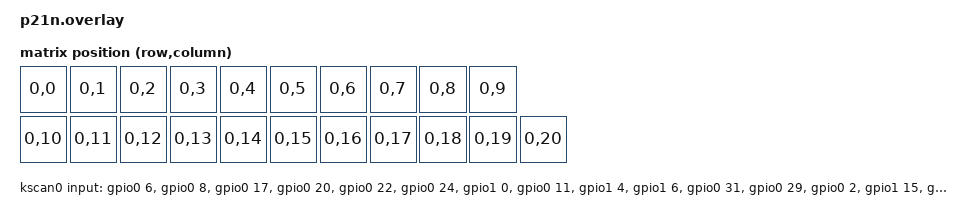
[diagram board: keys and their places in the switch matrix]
/*
 * 这是直连方式，模块引脚足够多，所以改为采用更省电的1行21列方案。
 *
 * Copyright (c) 2020 The ZMK Contributors
 * SPDX-License-Identifier: MIT
 */

#include <dt-bindings/zmk/matrix_transform.h>
#include "p21n-layouts.dtsi"

/ {
	chosen {
		zmk,kscan = &kscan0;
        zmk,physical-layout = &physical_layout0;
	};

    kscan0: kscan {
        compatible = "zmk,kscan-gpio-direct";
        label = "KSCAN";
        input-gpios
            = <&gpio0 6  (GPIO_ACTIVE_LOW | GPIO_PULL_UP)>
            , <&gpio0 8  (GPIO_ACTIVE_LOW | GPIO_PULL_UP)>

            , <&gpio0 17 (GPIO_ACTIVE_LOW | GPIO_PULL_UP)>
            , <&gpio0 20 (GPIO_ACTIVE_LOW | GPIO_PULL_UP)>
            , <&gpio0 22 (GPIO_ACTIVE_LOW | GPIO_PULL_UP)>
            , <&gpio0 24 (GPIO_ACTIVE_LOW | GPIO_PULL_UP)>
            , <&gpio1 0  (GPIO_ACTIVE_LOW | GPIO_PULL_UP)>
            , <&gpio0 11 (GPIO_ACTIVE_LOW | GPIO_PULL_UP)>
            , <&gpio1 4  (GPIO_ACTIVE_LOW | GPIO_PULL_UP)>
            , <&gpio1 6  (GPIO_ACTIVE_LOW | GPIO_PULL_UP)>

            , <&gpio0 31 (GPIO_ACTIVE_LOW | GPIO_PULL_UP)>
            , <&gpio0 29 (GPIO_ACTIVE_LOW | GPIO_PULL_UP)>
            , <&gpio0 2  (GPIO_ACTIVE_LOW | GPIO_PULL_UP)>
            , <&gpio1 15 (GPIO_ACTIVE_LOW | GPIO_PULL_UP)>
            , <&gpio1 13 (GPIO_ACTIVE_LOW | GPIO_PULL_UP)>
            , <&gpio1 11 (GPIO_ACTIVE_LOW | GPIO_PULL_UP)>
            , <&gpio0 10 (GPIO_ACTIVE_LOW | GPIO_PULL_UP)>
            , <&gpio0 9  (GPIO_ACTIVE_LOW | GPIO_PULL_UP)>

            , <&gpio1 7  (GPIO_ACTIVE_LOW | GPIO_PULL_UP)>
            , <&gpio1 2  (GPIO_ACTIVE_LOW | GPIO_PULL_UP)>
            , <&gpio1 1  (GPIO_ACTIVE_LOW | GPIO_PULL_UP)>
            ;
    };

    default_transform: keymap_transform_0 {
		compatible = "zmk,matrix-transform";
        rows = <1>;    // 直连方式只有1行
        columns = <21>; // 总共21个按键
        map = <
            RC(0,0)  RC(0,1)  RC(0,2)  RC(0,3)  RC(0,4)  RC(0,5)  RC(0,6)  RC(0,7)  RC(0,8)  RC(0,9)             // 第1-10个按键
            RC(0,10) RC(0,11) RC(0,12) RC(0,13) RC(0,14) RC(0,15) RC(0,16) RC(0,17) RC(0,18) RC(0,19) RC(0,20)   // 第11-21个按键
        >;
    };
};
